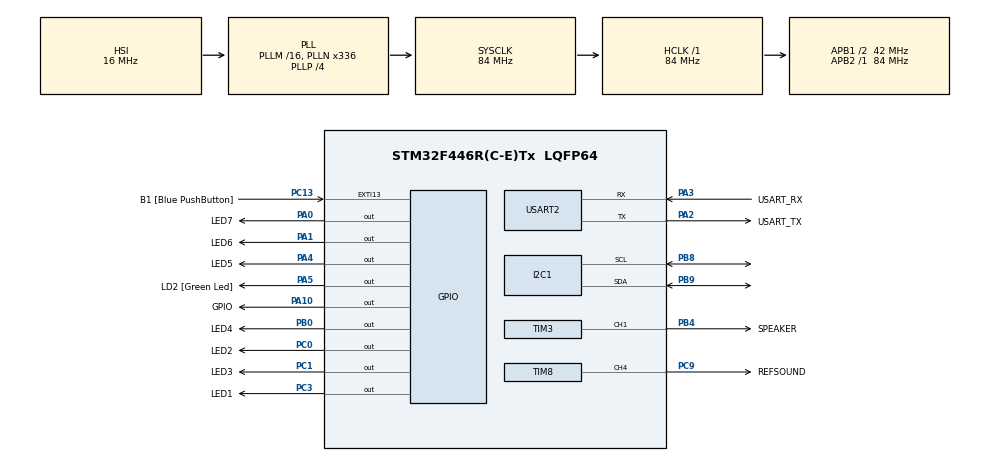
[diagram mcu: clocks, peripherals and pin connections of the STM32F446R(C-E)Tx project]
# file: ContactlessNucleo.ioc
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Dma.I2C1_RX.0.Direction=DMA_PERIPH_TO_MEMORY
Dma.I2C1_RX.0.FIFOMode=DMA_FIFOMODE_DISABLE
Dma.I2C1_RX.0.Instance=DMA1_Stream0
Dma.I2C1_RX.0.MemDataAlignment=DMA_MDATAALIGN_BYTE
Dma.I2C1_RX.0.MemInc=DMA_MINC_ENABLE
Dma.I2C1_RX.0.Mode=DMA_NORMAL
Dma.I2C1_RX.0.PeriphDataAlignment=DMA_PDATAALIGN_BYTE
Dma.I2C1_RX.0.PeriphInc=DMA_PINC_DISABLE
Dma.I2C1_RX.0.Priority=DMA_PRIORITY_LOW
Dma.I2C1_TX.1.Direction=DMA_MEMORY_TO_PERIPH
Dma.I2C1_TX.1.FIFOMode=DMA_FIFOMODE_DISABLE
Dma.I2C1_TX.1.Instance=DMA1_Stream7
Dma.I2C1_TX.1.MemDataAlignment=DMA_MDATAALIGN_BYTE
Dma.I2C1_TX.1.MemInc=DMA_MINC_ENABLE
Dma.I2C1_TX.1.Mode=DMA_NORMAL
Dma.I2C1_TX.1.PeriphDataAlignment=DMA_PDATAALIGN_BYTE
Dma.I2C1_TX.1.PeriphInc=DMA_PINC_DISABLE
Dma.I2C1_TX.1.Priority=DMA_PRIORITY_LOW
Dma.Request0=I2C1_RX
Dma.Request1=I2C1_TX
Dma.Request2=USART2_TX
Dma.USART2_TX.2.Direction=DMA_MEMORY_TO_PERIPH
Dma.USART2_TX.2.FIFOMode=DMA_FIFOMODE_DISABLE
Dma.USART2_TX.2.Instance=DMA1_Stream6
Dma.USART2_TX.2.MemDataAlignment=DMA_MDATAALIGN_BYTE
Dma.USART2_TX.2.MemInc=DMA_MINC_ENABLE
Dma.USART2_TX.2.Mode=DMA_NORMAL
Dma.USART2_TX.2.PeriphDataAlignment=DMA_PDATAALIGN_BYTE
Dma.USART2_TX.2.PeriphInc=DMA_PINC_DISABLE
Dma.USART2_TX.2.Priority=DMA_PRIORITY_LOW
Mcu.Family=STM32F4
Mcu.Name=STM32F446R(C-E)Tx
Mcu.Package=LQFP64
NVIC.DMA1_Stream0_IRQn=true\:0\:0\:false\:false\:true\:false\:true
NVIC.DMA1_Stream6_IRQn=true\:0\:0\:false\:false\:true\:false\:true
NVIC.DMA1_Stream7_IRQn=true\:0\:0\:false\:false\:true\:false\:true
NVIC.I2C1_ER_IRQn=true\:0\:0\:false\:false\:true\:true\:true
NVIC.I2C1_EV_IRQn=true\:0\:0\:false\:false\:true\:true\:true
NVIC.PriorityGroup=NVIC_PRIORITYGROUP_0
NVIC.TIM2_IRQn=true\:0\:0\:false\:false\:true\:true\:true
NVIC.TIM3_IRQn=true\:0\:0\:false\:false\:true\:true\:true
NVIC.USART2_IRQn=true\:0\:0\:false\:false\:true\:true\:true
PA0-WKUP.GPIO_Label=LED7
PA0-WKUP.Signal=GPIO_Output
PA1.GPIO_Label=LED6
PA1.Signal=GPIO_Output
PA10.GPIO_Label=GPIO
PA10.Signal=GPIO_Output
PA13.GPIO_Label=TMS
PA13.Mode=Serial_Wire
PA13.Signal=SYS_JTMS-SWDIO
PA14.GPIO_Label=TCK
PA14.Mode=Serial_Wire
PA14.Signal=SYS_JTCK-SWCLK
PA2.GPIO_Label=USART_TX
PA2.Mode=Asynchronous
PA2.Signal=USART2_TX
PA3.GPIO_Label=USART_RX
PA3.Mode=Asynchronous
PA3.Signal=USART2_RX
PA4.GPIO_Label=LED5
PA4.Signal=GPIO_Output
PA5.GPIO_Label=LD2 [Green Led]
PA5.Signal=GPIO_Output
PB0.GPIO_Label=LED4
PB0.Signal=GPIO_Output
PB3.GPIO_Label=SWO
PB3.Signal=SYS_JTDO-SWO
PB4.GPIO_Label=SPEAKER
PB4.Signal=S_TIM3_CH1
PB8.Mode=I2C
PB8.Signal=I2C1_SCL
PB9.Mode=I2C
PB9.Signal=I2C1_SDA
PC0.GPIO_Label=LED2
PC0.Signal=GPIO_Output
PC1.GPIO_Label=LED3
PC1.PinState=GPIO_PIN_RESET
PC1.Signal=GPIO_Output
PC13.GPIO_Label=B1 [Blue PushButton]
PC13.GPIO_ModeDefaultEXTI=GPIO_MODE_IT_FALLING
PC13.Signal=GPXTI13
PC14-OSC32_IN.Mode=LSE-External-Oscillator
PC14-OSC32_IN.Signal=RCC_OSC32_IN
PC15-OSC32_OUT.Mode=LSE-External-Oscillator
PC15-OSC32_OUT.Signal=RCC_OSC32_OUT
PC3.GPIO_Label=LED1
PC3.Signal=GPIO_Output
PC9.GPIO_Label=REFSOUND
PC9.Signal=S_TIM8_CH4
PH0-OSC_IN.Mode=HSE-External-Oscillator
PH0-OSC_IN.Signal=RCC_OSC_IN
PH1-OSC_OUT.Mode=HSE-External-Oscillator
PH1-OSC_OUT.Signal=RCC_OSC_OUT
ProjectManager.HeapSize=0x200
ProjectManager.StackSize=0x400
ProjectManager.TargetToolchain=Makefile
RCC.48MHZClocksFreq_Value=84000000
RCC.AHBFreq_Value=84000000
RCC.APB1CLKDivider=RCC_HCLK_DIV2
RCC.APB1Freq_Value=42000000
RCC.APB1TimFreq_Value=84000000
RCC.APB2Freq_Value=84000000
RCC.APB2TimFreq_Value=84000000
RCC.CortexFreq_Value=84000000
RCC.FLatency-AdvancedSettings=FLASH_LATENCY_2
RCC.HCLKFreq_Value=84000000
RCC.HSE_VALUE=8000000
RCC.HSI_VALUE=16000000
RCC.PLLN=336
RCC.PLLP=RCC_PLLP_DIV4
RCC.SYSCLKFreq_VALUE=84000000
RCC.SYSCLKSource=RCC_SYSCLKSOURCE_PLLCLK
RCC.USBFreq_Value=168000000
RCC.VCOOutputFreq_Value=336000000
SH.S_TIM3_CH1.0=TIM3_CH1,PWM Generation1 CH1
SH.S_TIM8_CH4.0=TIM8_CH4,PWM Generation4 CH4
TIM2.Period=4199999
TIM3.Channel-PWM\ Generation1\ CH1=TIM_CHANNEL_1
TIM3.CounterMode=TIM_COUNTERMODE_DOWN
TIM3.Period=53639
TIM3.Prescaler=5
TIM3.Pulse-PWM\ Generation1\ CH1=18000
TIM8.Channel-PWM\ Generation4\ CH4=TIM_CHANNEL_4
TIM8.Period=53639
TIM8.Prescaler=5
TIM8.Pulse-PWM\ Generation4\ CH4=18000
USART2.VirtualMode=VM_ASYNC
VP_TIM2_VS_ClockSourceINT.Mode=Internal
VP_TIM3_VS_ClockSourceINT.Mode=Internal
VP_TIM8_VS_ClockSourceINT.Mode=Internal
board=NUCLEO-F446RE

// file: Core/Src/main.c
/* USER CODE BEGIN Header */
/**
  ******************************************************************************
  * @file           : main.c
  * @brief          : Main program body
  ******************************************************************************
  * @attention
  *
  * Copyright (c) 2022 STMicroelectronics.
  * All rights reserved.
  *
  * This software is licensed under terms that can be found in the LICENSE file
  * in the root directory of this software component.
  * If no LICENSE file comes with this software, it is provided AS-IS.
  *
  ******************************************************************************
  */
/* USER CODE END Header */
#include "main.h"

/* USER CODE BEGIN Includes */
#include "stdio.h"
#include "math.h"

/* USER CODE END Includes */

I2C_HandleTypeDef hi2c1;
DMA_HandleTypeDef hdma_i2c1_rx;
DMA_HandleTypeDef hdma_i2c1_tx;

TIM_HandleTypeDef htim2;
TIM_HandleTypeDef htim3;
TIM_HandleTypeDef htim8;

UART_HandleTypeDef huart2;
DMA_HandleTypeDef hdma_usart2_tx;

/* USER CODE BEGIN PV */
const static uint16_t address = 0x80;
const static uint16_t addressR = address+1;
static uint8_t rx_buf[2] = {};
static uint8_t tx_on_buf[2] = {0xE8,0x00};
static uint8_t tx_off_buf[2] = {0xE8,0x01};
static uint8_t tx_buf[1] = {0x5E};
static uint32_t tone_array[12]
= {53639,50540,47780,45015,42552,40114,37837,35713,33734,31817,30042,28339};
/* USER CODE END PV */

void SystemClock_Config(void);
static void MX_DMA_Init(void);
static void MX_I2C1_Init(void);
static void MX_TIM2_Init(void);
static void MX_USART2_UART_Init(void);
static void MX_GPIO_Init(void);
static void MX_TIM3_Init(void);
static void MX_TIM8_Init(void);

/* USER CODE BEGIN 0 */
enum Tone {C=0,Cs,D,Ef,E,F,Fs,G,Gs,A,Bf,B,none};
enum Tone ASpeakerOn(uint16_t distance)
{
  switch (distance)
  {
  case 3: case 4:
    TIM3->ARR = tone_array[C];
    TIM3->CCR1 = (TIM3->ARR)/2;
    HAL_TIM_PWM_Start(&htim3,TIM_CHANNEL_1);
    return C;
    break;
  case 5: case 6:
    TIM3->ARR = tone_array[Cs];
    TIM3->CCR1 = (TIM3->ARR)/2;
    HAL_TIM_PWM_Start(&htim3,TIM_CHANNEL_1);
    return Cs;
  case 7: case 8:
    TIM3->ARR = tone_array[D];
    TIM3->CCR1 = (TIM3->ARR)/2;
    HAL_TIM_PWM_Start(&htim3,TIM_CHANNEL_1);
    return D;
  case 9: case 10:
    TIM3->ARR = tone_array[Ef];
    TIM3->CCR1 = (TIM3->ARR)/2;
    HAL_TIM_PWM_Start(&htim3,TIM_CHANNEL_1);
    return Ef;
  case 11: case 12: case 13:
    TIM3->ARR = tone_array[E];
    TIM3->CCR1 = (TIM3->ARR)/2;
    HAL_TIM_PWM_Start(&htim3,TIM_CHANNEL_1);
    return E;
  case 14: case 15: case 16:
    TIM3->ARR = tone_array[F];
    TIM3->CCR1 = (TIM3->ARR)/2;
    HAL_TIM_PWM_Start(&htim3,TIM_CHANNEL_1);
    return F;
  case 17: case 18: case 19: case 20:
    TIM3->ARR = tone_array[Fs];
    TIM3->CCR1 = (TIM3->ARR)/2;
    HAL_TIM_PWM_Start(&htim3,TIM_CHANNEL_1);
    return Fs;
  case 21: case 22: case 23: case 24:
    TIM3->ARR = tone_array[G];
    TIM3->CCR1 = (TIM3->ARR)/2;
    HAL_TIM_PWM_Start(&htim3,TIM_CHANNEL_1);
    return G;
  case 25: case 26: case 27: case 28:
    TIM3->ARR = tone_array[Gs];
    TIM3->CCR1 = (TIM3->ARR)/2;
    HAL_TIM_PWM_Start(&htim3,TIM_CHANNEL_1);
    return Gs;
  case 29: case 30: case 31: case 32: case 33: case 34:
    TIM3->ARR = tone_array[A];
    TIM3->CCR1 = (TIM3->ARR)/2;
    HAL_TIM_PWM_Start(&htim3,TIM_CHANNEL_1);
    return A;
  case 35: case 36: case 37: case 38:
    TIM3->ARR = tone_array[Bf];
    TIM3->CCR1 = (TIM3->ARR)/2;
    HAL_TIM_PWM_Start(&htim3,TIM_CHANNEL_1);
    return Bf;
  case 39: case 40: case 41: case 42:
    TIM3->ARR = tone_array[B];
    TIM3->CCR1 = (TIM3->ARR)/2;
    HAL_TIM_PWM_Start(&htim3,TIM_CHANNEL_1);
    return B;
  default:
    HAL_TIM_PWM_Stop(&htim3,TIM_CHANNEL_1);
    return none;
    break;
  }
}

enum Tone SpeakerOn(uint16_t distance)
{
  switch (distance)
  {
  case 3: case 4:
    TIM3->ARR = tone_array[C];
    TIM3->CCR1 = (TIM3->ARR)/2;
    HAL_TIM_PWM_Start(&htim3,TIM_CHANNEL_1);
    return C;
    break;
  case 5: case 6:
    TIM3->ARR = tone_array[Cs];
    TIM3->CCR1 = (TIM3->ARR)/2;
    HAL_TIM_PWM_Start(&htim3,TIM_CHANNEL_1);
    return Cs;
  case 7: case 8:
    TIM3->ARR = tone_array[D];
    TIM3->CCR1 = (TIM3->ARR)/2;
    HAL_TIM_PWM_Start(&htim3,TIM_CHANNEL_1);
    return D;
  case 9: case 10:
    TIM3->ARR = tone_array[Ef];
    TIM3->CCR1 = (TIM3->ARR)/2;
    HAL_TIM_PWM_Start(&htim3,TIM_CHANNEL_1);
    return Ef;
  case 11: case 12: case 13:
    TIM3->ARR = tone_array[E];
    TIM3->CCR1 = (TIM3->ARR)/2;
    HAL_TIM_PWM_Start(&htim3,TIM_CHANNEL_1);
    return E;
  case 14: case 15: case 16:
    TIM3->ARR = tone_array[F];
    TIM3->CCR1 = (TIM3->ARR)/2;
    HAL_TIM_PWM_Start(&htim3,TIM_CHANNEL_1);
    return F;
  case 17: case 18: case 19: case 20:
    TIM3->ARR = tone_array[Fs];
    TIM3->CCR1 = (TIM3->ARR)/2;
    HAL_TIM_PWM_Start(&htim3,TIM_CHANNEL_1);
    return Fs;
  case 21: case 22: case 23: case 24:
    TIM3->ARR = tone_array[G];
    TIM3->CCR1 = (TIM3->ARR)/2;
    HAL_TIM_PWM_Start(&htim3,TIM_CHANNEL_1);
    return G;
  case 25: case 26: case 27: case 28:
    TIM3->ARR = tone_array[Gs];
    TIM3->CCR1 = (TIM3->ARR)/2;
    HAL_TIM_PWM_Start(&htim3,TIM_CHANNEL_1);
    return Gs;
  case 29: case 30: case 31: case 32: case 33:
    TIM3->ARR = tone_array[A];
    TIM3->CCR1 = (TIM3->ARR)/2;
    HAL_TIM_PWM_Start(&htim3,TIM_CHANNEL_1);
    return A;
  case 34: case 35: case 36: case 37: case 38:
    TIM3->ARR = tone_array[Bf];
    TIM3->CCR1 = (TIM3->ARR)/2;
    HAL_TIM_PWM_Start(&htim3,TIM_CHANNEL_1);
    return Bf;
  case 39: case 40: case 41: case 42: case 43:
    TIM3->ARR = tone_array[B];
    TIM3->CCR1 = (TIM3->ARR)/2;
    HAL_TIM_PWM_Start(&htim3,TIM_CHANNEL_1);
    return B;
  default:
    HAL_TIM_PWM_Stop(&htim3,TIM_CHANNEL_1);
    return none;
    break;
  }
}

void SpeakerOff()
{
  HAL_TIM_PWM_Stop(&htim3,TIM_CHANNEL_1);
}

void ASoundOn()
{
  TIM8->ARR = tone_array[A];
  TIM8->CCR4 = (TIM8->ARR)/2;
  HAL_TIM_PWM_Start(&htim8,TIM_CHANNEL_4);
}

void RefSoundOn(uint32_t time)
{
  TIM8->ARR = tone_array[time%12];
  TIM8->CCR4 = (TIM8->ARR)/2;
  HAL_TIM_PWM_Start(&htim8,TIM_CHANNEL_4);
}

void SoundOff()
{
  HAL_TIM_PWM_Stop(&htim8,TIM_CHANNEL_4);
}

enum GameMode {Wait,Start,Load,Game,Clear,Finish};
static enum GameMode mode = Wait;
static uint32_t time_counter = 0;
static uint32_t game_time = 0;
void HAL_TIM_PeriodElapsedCallback(TIM_HandleTypeDef *htim)
{
  if(htim==&htim2)
  {
    time_counter++;
    switch (mode)
    {
    case Wait:
      SpeakerOff();
      SoundOff();
      HAL_GPIO_WritePin(LED1_GPIO_Port,LED1_Pin,GPIO_PIN_SET);
      HAL_GPIO_WritePin(LED2_GPIO_Port,LED2_Pin,GPIO_PIN_SET);
      HAL_GPIO_WritePin(LED3_GPIO_Port,LED3_Pin,GPIO_PIN_SET);
      HAL_GPIO_WritePin(LED4_GPIO_Port,LED4_Pin,GPIO_PIN_RESET);
      HAL_GPIO_WritePin(LED5_GPIO_Port,LED5_Pin,GPIO_PIN_SET);
      HAL_GPIO_WritePin(LED6_GPIO_Port,LED6_Pin,GPIO_PIN_SET);
      HAL_GPIO_WritePin(LED7_GPIO_Port,LED7_Pin,GPIO_PIN_SET);
      HAL_I2C_Master_Transmit(&hi2c1,address,tx_on_buf,2,1);
      HAL_I2C_Master_Transmit_DMA(&hi2c1,address,tx_buf,1);
      break;
    case Start:
      ASoundOn();
      HAL_I2C_Master_Transmit(&hi2c1,address,tx_on_buf,2,1);
      HAL_I2C_Master_Transmit_DMA(&hi2c1,address,tx_buf,1);
      break;
    case Load:
      SpeakerOff();
      SoundOff();
      HAL_GPIO_WritePin(LED1_GPIO_Port,LED1_Pin,GPIO_PIN_RESET);
      HAL_GPIO_WritePin(LED2_GPIO_Port,LED2_Pin,GPIO_PIN_RESET);
      HAL_GPIO_WritePin(LED3_GPIO_Port,LED3_Pin,GPIO_PIN_RESET);
      HAL_GPIO_WritePin(LED4_GPIO_Port,LED4_Pin,GPIO_PIN_RESET);
      HAL_GPIO_WritePin(LED5_GPIO_Port,LED5_Pin,GPIO_PIN_RESET);
      HAL_GPIO_WritePin(LED6_GPIO_Port,LED6_Pin,GPIO_PIN_RESET);
      HAL_GPIO_WritePin(LED7_GPIO_Port,LED7_Pin,GPIO_PIN_RESET);
      if(time_counter>=60)
      {
        time_counter = 0;
        mode = Game;
      }
      break;
    case Game:
      RefSoundOn(game_time);
      HAL_I2C_Master_Transmit(&hi2c1,address,tx_on_buf,2,1);
      HAL_I2C_Master_Transmit_DMA(&hi2c1,address,tx_buf,1);
      break;
    case Clear:
      SpeakerOff();
      SoundOff();
      HAL_I2C_Master_Transmit(&hi2c1,address,tx_on_buf,2,1);
      HAL_I2C_Master_Transmit_DMA(&hi2c1,address,tx_buf,1);
      break;
    case Finish:
      SpeakerOff();
      SoundOff();
      HAL_GPIO_WritePin(LED1_GPIO_Port,LED1_Pin,GPIO_PIN_RESET);
      HAL_GPIO_WritePin(LED2_GPIO_Port,LED2_Pin,GPIO_PIN_RESET);
      HAL_GPIO_WritePin(LED3_GPIO_Port,LED3_Pin,GPIO_PIN_RESET);
      HAL_GPIO_WritePin(LED4_GPIO_Port,LED4_Pin,GPIO_PIN_SET);
      HAL_GPIO_WritePin(LED5_GPIO_Port,LED5_Pin,GPIO_PIN_RESET);
      HAL_GPIO_WritePin(LED6_GPIO_Port,LED6_Pin,GPIO_PIN_RESET);
      HAL_GPIO_WritePin(LED7_GPIO_Port,LED7_Pin,GPIO_PIN_RESET);
      if(time_counter>=60)
      {
        time_counter = 0;
        mode = Wait;
      }
      break;
    default:
      break;
    }
  }
}

void HAL_I2C_MasterTxCpltCallback(I2C_HandleTypeDef *hi2c)
{
  if(hi2c==&hi2c1)
  {
    HAL_I2C_Master_Receive_DMA(&hi2c1,addressR,rx_buf,2);
  }
}

static uint32_t strike_counter = 0;
void HAL_I2C_MasterRxCpltCallback(I2C_HandleTypeDef *hi2c)
{
  if(hi2c==&hi2c1)
  {
    HAL_I2C_Master_Transmit(&hi2c1,address,tx_off_buf,2,1);
    uint16_t distance = (rx_buf[0]<<4|rx_buf[1])/64;
    enum Tone speaker_tone = none;
    switch (mode)
    {
      case Wait:
      if(distance<50)
      {
        strike_counter++;
        if(strike_counter>=20)
        {
          strike_counter = 0;
          time_counter = 0;
          mode = Start;
        }
      }
      else
      {
        strike_counter = 0;
      }
      break;
    case Start:
      speaker_tone = ASpeakerOn(distance);
      if(distance>=63)
      {
        HAL_GPIO_WritePin(LED1_GPIO_Port,LED1_Pin,GPIO_PIN_RESET);
        HAL_GPIO_WritePin(LED2_GPIO_Port,LED2_Pin,GPIO_PIN_RESET);
        HAL_GPIO_WritePin(LED3_GPIO_Port,LED3_Pin,GPIO_PIN_RESET);
        HAL_GPIO_WritePin(LED4_GPIO_Port,LED4_Pin,GPIO_PIN_RESET);
        HAL_GPIO_WritePin(LED5_GPIO_Port,LED5_Pin,GPIO_PIN_RESET);
        HAL_GPIO_WritePin(LED6_GPIO_Port,LED6_Pin,GPIO_PIN_RESET);
        HAL_GPIO_WritePin(LED7_GPIO_Port,LED7_Pin,GPIO_PIN_RESET);
      }
      else
      {
        switch (speaker_tone-A)
        {
        case -9: case -8: case -7: case -6: case -5: case -4: case -3:
          HAL_GPIO_WritePin(LED1_GPIO_Port,LED1_Pin,GPIO_PIN_SET);
          HAL_GPIO_WritePin(LED2_GPIO_Port,LED2_Pin,GPIO_PIN_RESET);
          HAL_GPIO_WritePin(LED3_GPIO_Port,LED3_Pin,GPIO_PIN_RESET);
          HAL_GPIO_WritePin(LED4_GPIO_Port,LED4_Pin,GPIO_PIN_RESET);
          HAL_GPIO_WritePin(LED5_GPIO_Port,LED5_Pin,GPIO_PIN_RESET);
          HAL_GPIO_WritePin(LED6_GPIO_Port,LED6_Pin,GPIO_PIN_RESET);
          HAL_GPIO_WritePin(LED7_GPIO_Port,LED7_Pin,GPIO_PIN_RESET);
          break;
        case -2:
          HAL_GPIO_WritePin(LED1_GPIO_Port,LED1_Pin,GPIO_PIN_RESET);
          HAL_GPIO_WritePin(LED2_GPIO_Port,LED2_Pin,GPIO_PIN_SET);
          HAL_GPIO_WritePin(LED3_GPIO_Port,LED3_Pin,GPIO_PIN_RESET);
          HAL_GPIO_WritePin(LED4_GPIO_Port,LED4_Pin,GPIO_PIN_RESET);
          HAL_GPIO_WritePin(LED5_GPIO_Port,LED5_Pin,GPIO_PIN_RESET);
          HAL_GPIO_WritePin(LED6_GPIO_Port,LED6_Pin,GPIO_PIN_RESET);
          HAL_GPIO_WritePin(LED7_GPIO_Port,LED7_Pin,GPIO_PIN_RESET);
          break;
        case -1:
          HAL_GPIO_WritePin(LED1_GPIO_Port,LED1_Pin,GPIO_PIN_RESET);
          HAL_GPIO_WritePin(LED2_GPIO_Port,LED2_Pin,GPIO_PIN_RESET);
          HAL_GPIO_WritePin(LED3_GPIO_Port,LED3_Pin,GPIO_PIN_SET);
          HAL_GPIO_WritePin(LED4_GPIO_Port,LED4_Pin,GPIO_PIN_RESET);
          HAL_GPIO_WritePin(LED5_GPIO_Port,LED5_Pin,GPIO_PIN_RESET);
          HAL_GPIO_WritePin(LED6_GPIO_Port,LED6_Pin,GPIO_PIN_RESET);
          HAL_GPIO_WritePin(LED7_GPIO_Port,LED7_Pin,GPIO_PIN_RESET);
          break;
        case 0:
          HAL_GPIO_WritePin(LED1_GPIO_Port,LED1_Pin,GPIO_PIN_RESET);
          HAL_GPIO_WritePin(LED2_GPIO_Port,LED2_Pin,GPIO_PIN_RESET);
          HAL_GPIO_WritePin(LED3_GPIO_Port,LED3_Pin,GPIO_PIN_RESET);
          HAL_GPIO_WritePin(LED4_GPIO_Port,LED4_Pin,GPIO_PIN_SET);
          HAL_GPIO_WritePin(LED5_GPIO_Port,LED5_Pin,GPIO_PIN_RESET);
          HAL_GPIO_WritePin(LED6_GPIO_Port,LED6_Pin,GPIO_PIN_RESET);
          HAL_GPIO_WritePin(LED7_GPIO_Port,LED7_Pin,GPIO_PIN_RESET);
          break;
        case 1:
          HAL_GPIO_WritePin(LED1_GPIO_Port,LED1_Pin,GPIO_PIN_RESET);
          HAL_GPIO_WritePin(LED2_GPIO_Port,LED2_Pin,GPIO_PIN_RESET);
          HAL_GPIO_WritePin(LED3_GPIO_Port,LED3_Pin,GPIO_PIN_RESET);
          HAL_GPIO_WritePin(LED4_GPIO_Port,LED4_Pin,GPIO_PIN_RESET);
          HAL_GPIO_WritePin(LED5_GPIO_Port,LED5_Pin,GPIO_PIN_SET);
          HAL_GPIO_WritePin(LED6_GPIO_Port,LED6_Pin,GPIO_PIN_RESET);
          HAL_GPIO_WritePin(LED7_GPIO_Port,LED7_Pin,GPIO_PIN_RESET);
          break;
        case 2:
          HAL_GPIO_WritePin(LED1_GPIO_Port,LED1_Pin,GPIO_PIN_RESET);
          HAL_GPIO_WritePin(LED2_GPIO_Port,LED2_Pin,GPIO_PIN_RESET);
          HAL_GPIO_WritePin(LED3_GPIO_Port,LED3_Pin,GPIO_PIN_RESET);
          HAL_GPIO_WritePin(LED4_GPIO_Port,LED4_Pin,GPIO_PIN_RESET);
          HAL_GPIO_WritePin(LED5_GPIO_Port,LED5_Pin,GPIO_PIN_RESET);
          HAL_GPIO_WritePin(LED6_GPIO_Port,LED6_Pin,GPIO_PIN_SET);
          HAL_GPIO_WritePin(LED7_GPIO_Port,LED7_Pin,GPIO_PIN_RESET);
          break;
        default:
          HAL_GPIO_WritePin(LED1_GPIO_Port,LED1_Pin,GPIO_PIN_RESET);
          HAL_GPIO_WritePin(LED2_GPIO_Port,LED2_Pin,GPIO_PIN_RESET);
          HAL_GPIO_WritePin(LED3_GPIO_Port,LED3_Pin,GPIO_PIN_RESET);
          HAL_GPIO_WritePin(LED4_GPIO_Port,LED4_Pin,GPIO_PIN_RESET);
          HAL_GPIO_WritePin(LED5_GPIO_Port,LED5_Pin,GPIO_PIN_RESET);
          HAL_GPIO_WritePin(LED6_GPIO_Port,LED6_Pin,GPIO_PIN_RESET);
          HAL_GPIO_WritePin(LED7_GPIO_Port,LED7_Pin,GPIO_PIN_RESET);
          break;
        }
      }
      if(speaker_tone==A)
      {
        strike_counter++;
        if(strike_counter>=10)
        {
          strike_counter = 0;
          time_counter = 0;
          mode = Load;
        }
      }
      else
      {
        strike_counter = 0;
      }
      break;
    case Game:
      speaker_tone = SpeakerOn(distance);
      if(distance>=63)
      {
        HAL_GPIO_WritePin(LED1_GPIO_Port,LED1_Pin,GPIO_PIN_RESET);
        HAL_GPIO_WritePin(LED2_GPIO_Port,LED2_Pin,GPIO_PIN_RESET);
        HAL_GPIO_WritePin(LED3_GPIO_Port,LED3_Pin,GPIO_PIN_RESET);
        HAL_GPIO_WritePin(LED4_GPIO_Port,LED4_Pin,GPIO_PIN_RESET);
        HAL_GPIO_WritePin(LED5_GPIO_Port,LED5_Pin,GPIO_PIN_RESET);
        HAL_GPIO_WritePin(LED6_GPIO_Port,LED6_Pin,GPIO_PIN_RESET);
        HAL_GPIO_WritePin(LED7_GPIO_Port,LED7_Pin,GPIO_PIN_RESET);
      }
      else
      {
        switch (speaker_tone-(game_time%12))
        {
        case -3:
          HAL_GPIO_WritePin(LED1_GPIO_Port,LED1_Pin,GPIO_PIN_SET);
          HAL_GPIO_WritePin(LED2_GPIO_Port,LED2_Pin,GPIO_PIN_RESET);
          HAL_GPIO_WritePin(LED3_GPIO_Port,LED3_Pin,GPIO_PIN_RESET);
          HAL_GPIO_WritePin(LED4_GPIO_Port,LED4_Pin,GPIO_PIN_RESET);
          HAL_GPIO_WritePin(LED5_GPIO_Port,LED5_Pin,GPIO_PIN_RESET);
          HAL_GPIO_WritePin(LED6_GPIO_Port,LED6_Pin,GPIO_PIN_RESET);
          HAL_GPIO_WritePin(LED7_GPIO_Port,LED7_Pin,GPIO_PIN_RESET);
          break;
        case -2:
          HAL_GPIO_WritePin(LED1_GPIO_Port,LED1_Pin,GPIO_PIN_RESET);
          HAL_GPIO_WritePin(LED2_GPIO_Port,LED2_Pin,GPIO_PIN_SET);
          HAL_GPIO_WritePin(LED3_GPIO_Port,LED3_Pin,GPIO_PIN_RESET);
          HAL_GPIO_WritePin(LED4_GPIO_Port,LED4_Pin,GPIO_PIN_RESET);
          HAL_GPIO_WritePin(LED5_GPIO_Port,LED5_Pin,GPIO_PIN_RESET);
          HAL_GPIO_WritePin(LED6_GPIO_Port,LED6_Pin,GPIO_PIN_RESET);
          HAL_GPIO_WritePin(LED7_GPIO_Port,LED7_Pin,GPIO_PIN_RESET);
          break;
        case -1:
          HAL_GPIO_WritePin(LED1_GPIO_Port,LED1_Pin,GPIO_PIN_RESET);
          HAL_GPIO_WritePin(LED2_GPIO_Port,LED2_Pin,GPIO_PIN_RESET);
          HAL_GPIO_WritePin(LED3_GPIO_Port,LED3_Pin,GPIO_PIN_SET);
          HAL_GPIO_WritePin(LED4_GPIO_Port,LED4_Pin,GPIO_PIN_RESET);
          HAL_GPIO_WritePin(LED5_GPIO_Port,LED5_Pin,GPIO_PIN_RESET);
          HAL_GPIO_WritePin(LED6_GPIO_Port,LED6_Pin,GPIO_PIN_RESET);
          HAL_GPIO_WritePin(LED7_GPIO_Port,LED7_Pin,GPIO_PIN_RESET);
          break;
        case 0:
          HAL_GPIO_WritePin(LED1_GPIO_Port,LED1_Pin,GPIO_PIN_RESET);
          HAL_GPIO_WritePin(LED2_GPIO_Port,LED2_Pin,GPIO_PIN_RESET);
          HAL_GPIO_WritePin(LED3_GPIO_Port,LED3_Pin,GPIO_PIN_RESET);
          HAL_GPIO_WritePin(LED4_GPIO_Port,LED4_Pin,GPIO_PIN_SET);
          HAL_GPIO_WritePin(LED5_GPIO_Port,LED5_Pin,GPIO_PIN_RESET);
          HAL_GPIO_WritePin(LED6_GPIO_Port,LED6_Pin,GPIO_PIN_RESET);
          HAL_GPIO_WritePin(LED7_GPIO_Port,LED7_Pin,GPIO_PIN_RESET);
          break;
        case 1:
          HAL_GPIO_WritePin(LED1_GPIO_Port,LED1_Pin,GPIO_PIN_RESET);
          HAL_GPIO_WritePin(LED2_GPIO_Port,LED2_Pin,GPIO_PIN_RESET);
          HAL_GPIO_WritePin(LED3_GPIO_Port,LED3_Pin,GPIO_PIN_RESET);
          HAL_GPIO_WritePin(LED4_GPIO_Port,LED4_Pin,GPIO_PIN_RESET);
          HAL_GPIO_WritePin(LED5_GPIO_Port,LED5_Pin,GPIO_PIN_SET);
          HAL_GPIO_WritePin(LED6_GPIO_Port,LED6_Pin,GPIO_PIN_RESET);
          HAL_GPIO_WritePin(LED7_GPIO_Port,LED7_Pin,GPIO_PIN_RESET);
          break;
        case 2:
          HAL_GPIO_WritePin(LED1_GPIO_Port,LED1_Pin,GPIO_PIN_RESET);
          HAL_GPIO_WritePin(LED2_GPIO_Port,LED2_Pin,GPIO_PIN_RESET);
          HAL_GPIO_WritePin(LED3_GPIO_Port,LED3_Pin,GPIO_PIN_RESET);
          HAL_GPIO_WritePin(LED4_GPIO_Port,LED4_Pin,GPIO_PIN_RESET);
          HAL_GPIO_WritePin(LED5_GPIO_Port,LED5_Pin,GPIO_PIN_RESET);
          HAL_GPIO_WritePin(LED6_GPIO_Port,LED6_Pin,GPIO_PIN_SET);
          HAL_GPIO_WritePin(LED7_GPIO_Port,LED7_Pin,GPIO_PIN_RESET);
          break;
        case 3:
          HAL_GPIO_WritePin(LED1_GPIO_Port,LED1_Pin,GPIO_PIN_RESET);
          HAL_GPIO_WritePin(LED2_GPIO_Port,LED2_Pin,GPIO_PIN_RESET);
          HAL_GPIO_WritePin(LED3_GPIO_Port,LED3_Pin,GPIO_PIN_RESET);
          HAL_GPIO_WritePin(LED4_GPIO_Port,LED4_Pin,GPIO_PIN_RESET);
          HAL_GPIO_WritePin(LED5_GPIO_Port,LED5_Pin,GPIO_PIN_RESET);
          HAL_GPIO_WritePin(LED6_GPIO_Port,LED6_Pin,GPIO_PIN_RESET);
          HAL_GPIO_WritePin(LED7_GPIO_Port,LED7_Pin,GPIO_PIN_SET);
          break;
        default:
          HAL_GPIO_WritePin(LED1_GPIO_Port,LED1_Pin,GPIO_PIN_RESET);
          HAL_GPIO_WritePin(LED2_GPIO_Port,LED2_Pin,GPIO_PIN_RESET);
          HAL_GPIO_WritePin(LED3_GPIO_Port,LED3_Pin,GPIO_PIN_RESET);
          HAL_GPIO_WritePin(LED4_GPIO_Port,LED4_Pin,GPIO_PIN_RESET);
          HAL_GPIO_WritePin(LED5_GPIO_Port,LED5_Pin,GPIO_PIN_RESET);
          HAL_GPIO_WritePin(LED6_GPIO_Port,LED6_Pin,GPIO_PIN_RESET);
          HAL_GPIO_WritePin(LED7_GPIO_Port,LED7_Pin,GPIO_PIN_RESET);
          break;
        }
      }
      if(speaker_tone==(game_time%12))
      {
        strike_counter++;
        if(strike_counter>=15)
        {
          strike_counter = 0;
          game_time = time_counter;
          time_counter = 0;
          mode = Finish;
        }
      }
      else
      {
        strike_counter = 0;
      }
      break;
    case Clear:
      if(distance<10)
      {
        strike_counter++;
        if(strike_counter>=20)
        {
          strike_counter = 0;
          time_counter = 0;
          mode = Finish;
        }
      }
      else
      {
        strike_counter = 0;
      }
      break;
    default:
      break;
    }
    uint8_t tof_data[16] = {};
    snprintf((char*)tof_data,16,"%d,%ld,%ld\r\n",distance,time_counter,game_time);
    HAL_UART_Transmit_DMA(&huart2,tof_data,16);
  }
}
/* USER CODE END 0 */

int main(void)
{

  /* MCU Configuration--------------------------------------------------------*/

  /* Reset of all peripherals, Initializes the Flash interface and the Systick. */
  HAL_Init();

  /* Configure the system clock */
  SystemClock_Config();

  /* Initialize all configured peripherals */
  MX_DMA_Init();
  MX_I2C1_Init();
  MX_TIM2_Init();
  MX_USART2_UART_Init();
  MX_GPIO_Init();
  MX_TIM3_Init();
  MX_TIM8_Init();
  /* USER CODE BEGIN 2 */
  uint8_t uart_buf[] = "start\r\n";
  HAL_UART_Transmit(&huart2,uart_buf,sizeof(uart_buf),1000);
  HAL_GPIO_WritePin(GPIO_GPIO_Port,GPIO_Pin,SET);
  HAL_I2C_Master_Transmit(&hi2c1,address,tx_on_buf,2,1);
  TIM2->CNT = 0;
  TIM3->CNT = 0;
  TIM8->CNT = 0;
  HAL_TIM_Base_Start_IT(&htim2);
  /* USER CODE END 2 */

  /* Infinite loop */
  while (1)
  {

  }
}

void SystemClock_Config(void)
{
  RCC_OscInitTypeDef RCC_OscInitStruct = {0};
  RCC_ClkInitTypeDef RCC_ClkInitStruct = {0};

  /** Configure the main internal regulator output voltage
  */
  __HAL_RCC_PWR_CLK_ENABLE();
  __HAL_PWR_VOLTAGESCALING_CONFIG(PWR_REGULATOR_VOLTAGE_SCALE3);
  /** Initializes the RCC Oscillators according to the specified parameters
  * in the RCC_OscInitTypeDef structure.
  */
  RCC_OscInitStruct.OscillatorType = RCC_OSCILLATORTYPE_HSI;
  RCC_OscInitStruct.HSIState = RCC_HSI_ON;
  RCC_OscInitStruct.HSICalibrationValue = RCC_HSICALIBRATION_DEFAULT;
  RCC_OscInitStruct.PLL.PLLState = RCC_PLL_ON;
  RCC_OscInitStruct.PLL.PLLSource = RCC_PLLSOURCE_HSI;
  RCC_OscInitStruct.PLL.PLLM = 16;
  RCC_OscInitStruct.PLL.PLLN = 336;
  RCC_OscInitStruct.PLL.PLLP = RCC_PLLP_DIV4;
  RCC_OscInitStruct.PLL.PLLQ = 2;
  RCC_OscInitStruct.PLL.PLLR = 2;
  if (HAL_RCC_OscConfig(&RCC_OscInitStruct) != HAL_OK)
  {
    Error_Handler();
  }
  /** Initializes the CPU, AHB and APB buses clocks
  */
  RCC_ClkInitStruct.ClockType = RCC_CLOCKTYPE_HCLK|RCC_CLOCKTYPE_SYSCLK
                              |RCC_CLOCKTYPE_PCLK1|RCC_CLOCKTYPE_PCLK2;
  RCC_ClkInitStruct.SYSCLKSource = RCC_SYSCLKSOURCE_PLLCLK;
  RCC_ClkInitStruct.AHBCLKDivider = RCC_SYSCLK_DIV1;
  RCC_ClkInitStruct.APB1CLKDivider = RCC_HCLK_DIV2;
  RCC_ClkInitStruct.APB2CLKDivider = RCC_HCLK_DIV1;

  if (HAL_RCC_ClockConfig(&RCC_ClkInitStruct, FLASH_LATENCY_2) != HAL_OK)
  {
    Error_Handler();
  }
}

static void MX_I2C1_Init(void)
{

  hi2c1.Instance = I2C1;
  hi2c1.Init.ClockSpeed = 100000;
  hi2c1.Init.DutyCycle = I2C_DUTYCYCLE_2;
  hi2c1.Init.OwnAddress1 = 0;
  hi2c1.Init.AddressingMode = I2C_ADDRESSINGMODE_7BIT;
  hi2c1.Init.DualAddressMode = I2C_DUALADDRESS_DISABLE;
  hi2c1.Init.OwnAddress2 = 0;
  hi2c1.Init.GeneralCallMode = I2C_GENERALCALL_DISABLE;
  hi2c1.Init.NoStretchMode = I2C_NOSTRETCH_DISABLE;
  if (HAL_I2C_Init(&hi2c1) != HAL_OK)
  {
    Error_Handler();
  }

}

static void MX_TIM2_Init(void)
{

  TIM_ClockConfigTypeDef sClockSourceConfig = {0};
  TIM_MasterConfigTypeDef sMasterConfig = {0};

  htim2.Instance = TIM2;
  htim2.Init.Prescaler = 0;
  htim2.Init.CounterMode = TIM_COUNTERMODE_UP;
  htim2.Init.Period = 4199999;
  htim2.Init.ClockDivision = TIM_CLOCKDIVISION_DIV1;
  htim2.Init.AutoReloadPreload = TIM_AUTORELOAD_PRELOAD_DISABLE;
  if (HAL_TIM_Base_Init(&htim2) != HAL_OK)
  {
    Error_Handler();
  }
  sClockSourceConfig.ClockSource = TIM_CLOCKSOURCE_INTERNAL;
  if (HAL_TIM_ConfigClockSource(&htim2, &sClockSourceConfig) != HAL_OK)
  {
    Error_Handler();
  }
  sMasterConfig.MasterOutputTrigger = TIM_TRGO_RESET;
  sMasterConfig.MasterSlaveMode = TIM_MASTERSLAVEMODE_DISABLE;
  if (HAL_TIMEx_MasterConfigSynchronization(&htim2, &sMasterConfig) != HAL_OK)
  {
    Error_Handler();
  }

}

static void MX_TIM3_Init(void)
{

  TIM_ClockConfigTypeDef sClockSourceConfig = {0};
  TIM_MasterConfigTypeDef sMasterConfig = {0};
  TIM_OC_InitTypeDef sConfigOC = {0};

  htim3.Instance = TIM3;
  htim3.Init.Prescaler = 5;
  htim3.Init.CounterMode = TIM_COUNTERMODE_DOWN;
  htim3.Init.Period = 53639;
  htim3.Init.ClockDivision = TIM_CLOCKDIVISION_DIV1;
  htim3.Init.AutoReloadPreload = TIM_AUTORELOAD_PRELOAD_DISABLE;
  if (HAL_TIM_Base_Init(&htim3) != HAL_OK)
  {
    Error_Handler();
  }
  sClockSourceConfig.ClockSource = TIM_CLOCKSOURCE_INTERNAL;
  if (HAL_TIM_ConfigClockSource(&htim3, &sClockSourceConfig) != HAL_OK)
  {
    Error_Handler();
  }
  if (HAL_TIM_PWM_Init(&htim3) != HAL_OK)
  {
    Error_Handler();
  }
  sMasterConfig.MasterOutputTrigger = TIM_TRGO_RESET;
  sMasterConfig.MasterSlaveMode = TIM_MASTERSLAVEMODE_DISABLE;
  if (HAL_TIMEx_MasterConfigSynchronization(&htim3, &sMasterConfig) != HAL_OK)
  {
    Error_Handler();
  }
  sConfigOC.OCMode = TIM_OCMODE_PWM1;
  sConfigOC.Pulse = 18000;
  sConfigOC.OCPolarity = TIM_OCPOLARITY_HIGH;
  sConfigOC.OCFastMode = TIM_OCFAST_DISABLE;
  if (HAL_TIM_PWM_ConfigChannel(&htim3, &sConfigOC, TIM_CHANNEL_1) != HAL_OK)
  {
    Error_Handler();
  }
  HAL_TIM_MspPostInit(&htim3);

}

static void MX_TIM8_Init(void)
{

  TIM_ClockConfigTypeDef sClockSourceConfig = {0};
  TIM_MasterConfigTypeDef sMasterConfig = {0};
  TIM_OC_InitTypeDef sConfigOC = {0};
  TIM_BreakDeadTimeConfigTypeDef sBreakDeadTimeConfig = {0};

  htim8.Instance = TIM8;
  htim8.Init.Prescaler = 5;
  htim8.Init.CounterMode = TIM_COUNTERMODE_UP;
  htim8.Init.Period = 53639;
  htim8.Init.ClockDivision = TIM_CLOCKDIVISION_DIV1;
  htim8.Init.RepetitionCounter = 0;
  htim8.Init.AutoReloadPreload = TIM_AUTORELOAD_PRELOAD_DISABLE;
  if (HAL_TIM_Base_Init(&htim8) != HAL_OK)
  {
    Error_Handler();
  }
  sClockSourceConfig.ClockSource = TIM_CLOCKSOURCE_INTERNAL;
  if (HAL_TIM_ConfigClockSource(&htim8, &sClockSourceConfig) != HAL_OK)
  {
    Error_Handler();
  }
  if (HAL_TIM_PWM_Init(&htim8) != HAL_OK)
  {
    Error_Handler();
  }
  sMasterConfig.MasterOutputTrigger = TIM_TRGO_RESET;
  sMasterConfig.MasterSlaveMode = TIM_MASTERSLAVEMODE_DISABLE;
  if (HAL_TIMEx_MasterConfigSynchronization(&htim8, &sMasterConfig) != HAL_OK)
  {
    Error_Handler();
  }
  sConfigOC.OCMode = TIM_OCMODE_PWM1;
  sConfigOC.Pulse = 18000;
  sConfigOC.OCPolarity = TIM_OCPOLARITY_HIGH;
  sConfigOC.OCFastMode = TIM_OCFAST_DISABLE;
  sConfigOC.OCIdleState = TIM_OCIDLESTATE_RESET;
  sConfigOC.OCNIdleState = TIM_OCNIDLESTATE_RESET;
  if (HAL_TIM_PWM_ConfigChannel(&htim8, &sConfigOC, TIM_CHANNEL_4) != HAL_OK)
  {
    Error_Handler();
  }
  sBreakDeadTimeConfig.OffStateRunMode = TIM_OSSR_DISABLE;
  sBreakDeadTimeConfig.OffStateIDLEMode = TIM_OSSI_DISABLE;
  sBreakDeadTimeConfig.LockLevel = TIM_LOCKLEVEL_OFF;
  sBreakDeadTimeConfig.DeadTime = 0;
  sBreakDeadTimeConfig.BreakState = TIM_BREAK_DISABLE;
  sBreakDeadTimeConfig.BreakPolarity = TIM_BREAKPOLARITY_HIGH;
  sBreakDeadTimeConfig.AutomaticOutput = TIM_AUTOMATICOUTPUT_DISABLE;
  if (HAL_TIMEx_ConfigBreakDeadTime(&htim8, &sBreakDeadTimeConfig) != HAL_OK)
  {
    Error_Handler();
  }
  HAL_TIM_MspPostInit(&htim8);

}

static void MX_USART2_UART_Init(void)
{

  huart2.Instance = USART2;
  huart2.Init.BaudRate = 115200;
  huart2.Init.WordLength = UART_WORDLENGTH_8B;
  huart2.Init.StopBits = UART_STOPBITS_1;
  huart2.Init.Parity = UART_PARITY_NONE;
  huart2.Init.Mode = UART_MODE_TX_RX;
  huart2.Init.HwFlowCtl = UART_HWCONTROL_NONE;
  huart2.Init.OverSampling = UART_OVERSAMPLING_16;
  if (HAL_UART_Init(&huart2) != HAL_OK)
  {
    Error_Handler();
  }

}

static void MX_DMA_Init(void)
{

  /* DMA controller clock enable */
  __HAL_RCC_DMA1_CLK_ENABLE();

  /* DMA interrupt init */
  /* DMA1_Stream0_IRQn interrupt configuration */
  HAL_NVIC_SetPriority(DMA1_Stream0_IRQn, 0, 0);
  HAL_NVIC_EnableIRQ(DMA1_Stream0_IRQn);
  /* DMA1_Stream6_IRQn interrupt configuration */
  HAL_NVIC_SetPriority(DMA1_Stream6_IRQn, 0, 0);
  HAL_NVIC_EnableIRQ(DMA1_Stream6_IRQn);
  /* DMA1_Stream7_IRQn interrupt configuration */
  HAL_NVIC_SetPriority(DMA1_Stream7_IRQn, 0, 0);
  HAL_NVIC_EnableIRQ(DMA1_Stream7_IRQn);

}

static void MX_GPIO_Init(void)
{
  GPIO_InitTypeDef GPIO_InitStruct = {0};

  /* GPIO Ports Clock Enable */
  __HAL_RCC_GPIOC_CLK_ENABLE();
  __HAL_RCC_GPIOH_CLK_ENABLE();
  __HAL_RCC_GPIOA_CLK_ENABLE();
  __HAL_RCC_GPIOB_CLK_ENABLE();

  /*Configure GPIO pin Output Level */
  HAL_GPIO_WritePin(GPIOC, LED2_Pin|LED3_Pin|LED1_Pin, GPIO_PIN_RESET);

  /*Configure GPIO pin Output Level */
  HAL_GPIO_WritePin(GPIOA, LED7_Pin|LED6_Pin|LED5_Pin|LD2_Pin
                          |GPIO_Pin, GPIO_PIN_RESET);

  /*Configure GPIO pin Output Level */
  HAL_GPIO_WritePin(LED4_GPIO_Port, LED4_Pin, GPIO_PIN_RESET);

  /*Configure GPIO pin : B1_Pin */
  GPIO_InitStruct.Pin = B1_Pin;
  GPIO_InitStruct.Mode = GPIO_MODE_IT_FALLING;
  GPIO_InitStruct.Pull = GPIO_NOPULL;
  HAL_GPIO_Init(B1_GPIO_Port, &GPIO_InitStruct);

  /*Configure GPIO pins : LED2_Pin LED3_Pin LED1_Pin */
  GPIO_InitStruct.Pin = LED2_Pin|LED3_Pin|LED1_Pin;
  GPIO_InitStruct.Mode = GPIO_MODE_OUTPUT_PP;
  GPIO_InitStruct.Pull = GPIO_NOPULL;
  GPIO_InitStruct.Speed = GPIO_SPEED_FREQ_LOW;
  HAL_GPIO_Init(GPIOC, &GPIO_InitStruct);

  /*Configure GPIO pins : LED7_Pin LED6_Pin LED5_Pin LD2_Pin
                           GPIO_Pin */
  GPIO_InitStruct.Pin = LED7_Pin|LED6_Pin|LED5_Pin|LD2_Pin
                          |GPIO_Pin;
  GPIO_InitStruct.Mode = GPIO_MODE_OUTPUT_PP;
  GPIO_InitStruct.Pull = GPIO_NOPULL;
  GPIO_InitStruct.Speed = GPIO_SPEED_FREQ_LOW;
  HAL_GPIO_Init(GPIOA, &GPIO_InitStruct);

  /*Configure GPIO pin : LED4_Pin */
  GPIO_InitStruct.Pin = LED4_Pin;
  GPIO_InitStruct.Mode = GPIO_MODE_OUTPUT_PP;
  GPIO_InitStruct.Pull = GPIO_NOPULL;
  GPIO_InitStruct.Speed = GPIO_SPEED_FREQ_LOW;
  HAL_GPIO_Init(LED4_GPIO_Port, &GPIO_InitStruct);

}

void Error_Handler(void)
{
  __disable_irq();
  while (1)
  {
  }
}
